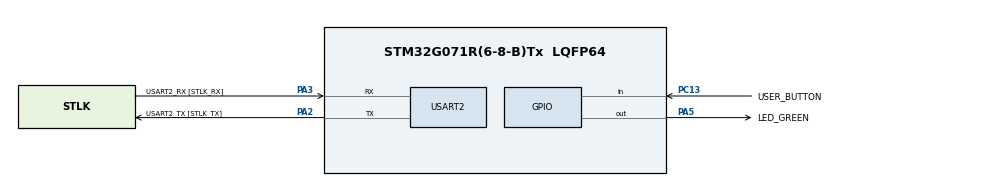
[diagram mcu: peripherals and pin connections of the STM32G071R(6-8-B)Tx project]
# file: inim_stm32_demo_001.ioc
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Mcu.Family=STM32G0
PA2.GPIO_PuPd=GPIO_PULLUP
RCC.CortexFreq_Value=16000000
PA14-BOOT0.GPIO_Label=TCK
PC13.Signal=GPIO_Input
PA3.GPIO_PuPd=GPIO_PULLUP
PA14-BOOT0.Mode=Serial_Wire
RCC.EXTERNAL_CLOCK_VALUE=12288000
PC15-OSC32_OUT\ (PC15).Signal=RCC_OSC32_OUT
PC15-OSC32_OUT\ (PC15).Mode=LSE-External-Oscillator
PC13.GPIO_Label=USER_BUTTON
PF0-OSC_IN\ (PF0).GPIO_Label=MCO
PF0-OSC_IN\ (PF0).Signal=RCC_OSC_IN
ProjectManager.StackSize=0x400
PC14-OSC32_IN\ (PC14).Mode=LSE-External-Oscillator
PF0-OSC_IN\ (PF0).Mode=HSE-External-Clock-Source
PA3.Mode=Asynchronous
PA13.Signal=SYS_SWDIO
ProjectManager.TargetToolchain=STM32CubeIDE
RCC.HCLKFreq_Value=16000000
RCC.AHBFreq_Value=16000000
PA14-BOOT0.Signal=SYS_SWCLK
PA5.Signal=GPIO_Output
RCC.HSE_VALUE=8000000
board=NUCLEO-G071RB
USART2.VirtualMode-Asynchronous=VM_ASYNC
RCC.VCOOutputFreq_Value=128000000
VP_SYS_VS_DBSignals.Mode=DisableDeadBatterySignals
PA13.Mode=Serial_Wire
Mcu.Name=STM32G071R(6-8-B)Tx
PA2.Signal=USART2_TX
PA13.GPIO_Label=TMS
RCC.SYSCLKFreq_VALUE=16000000
Mcu.Package=LQFP64
PA5.GPIO_Label=LED_GREEN
PC14-OSC32_IN\ (PC14).Signal=RCC_OSC32_IN
PA2.GPIO_Label=USART2_TX [STLK_TX]
ProjectManager.HeapSize=0x200
RCC.HSI_VALUE=16000000
PA5.GPIO_Speed=GPIO_SPEED_FREQ_HIGH
PA2.Mode=Asynchronous
PA3.GPIO_Label=USART2_RX [STLK_RX]
PA3.Signal=USART2_RX

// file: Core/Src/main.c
/* USER CODE BEGIN Header */
/**
  ******************************************************************************
  * @file           : main.c
  * @brief          : Main program body
  ******************************************************************************
  * @attention
  *
  * <h2><center>&copy; Copyright (c) 2021 STMicroelectronics.
  * All rights reserved.</center></h2>
  *
  * This software component is licensed by ST under BSD 3-Clause license,
  * the "License"; You may not use this file except in compliance with the
  * License. You may obtain a copy of the License at:
  *                        opensource.org/licenses/BSD-3-Clause
  *
  ******************************************************************************
  */
/* USER CODE END Header */
#include "main.h"
#include "usart.h"
#include "gpio.h"

/* USER CODE BEGIN Includes */
#include "string.h"
/* USER CODE END Includes */

void SystemClock_Config(void);

/* USER CODE BEGIN 0 */
const uint8_t __USED __attribute__((section(".flash2_sect1"))) var_in_flash2_sect1[8] = "123star";
const uint8_t __USED __attribute__((section(".flash2_sect2"))) var_in_flash2_sect2[8] = "123star";
const uint8_t __USED __attribute__((section(".flash2_sect3"))) var_in_flash2_sect3[8] = "123star";
const uint8_t __USED __attribute__((section(".flash2_sect4"))) var_in_flash2_sect4[8] = "123star";

__IO uint8_t __USED __attribute__((section(".ram2_sect1"))) var_in_ram2_sect1[8] = "ram_var";
__IO uint8_t __USED __attribute__((section(".ram2_sect2"))) var_in_ram2_sect2[8] = "ram_var";
__IO uint8_t __USED __attribute__((section(".ram2_sect3"))) var_in_ram2_sect3[8] = "ram_var";
__IO uint8_t __USED __attribute__((section(".ram2_sect4"))) var_in_ram2_sect4[8] = "ram_var";

volatile uint8_t cache[1024];
/* USER CODE END 0 */

int main(void)
{

  /* MCU Configuration--------------------------------------------------------*/

  /* Reset of all peripherals, Initializes the Flash interface and the Systick. */

  LL_APB2_GRP1_EnableClock(LL_APB2_GRP1_PERIPH_SYSCFG);
  LL_APB1_GRP1_EnableClock(LL_APB1_GRP1_PERIPH_PWR);

  /* System interrupt init*/

  /** Disable the internal Pull-Up in Dead Battery pins of UCPD peripheral
  */
  LL_SYSCFG_DisableDBATT(LL_SYSCFG_UCPD1_STROBE | LL_SYSCFG_UCPD2_STROBE);

  /* Configure the system clock */
  SystemClock_Config();

  /* Initialize all configured peripherals */
  MX_GPIO_Init();
  MX_USART2_UART_Init();
  /* USER CODE BEGIN 2 */
  memcpy((uint8_t*)&cache[0], (uint8_t*)&var_in_flash2_sect1[0], 8);
  memcpy((uint8_t*)&cache[0], (uint8_t*)&var_in_flash2_sect2[0], 8);
  memcpy((uint8_t*)&cache[0], (uint8_t*)&var_in_flash2_sect3[0], 8);
  memcpy((uint8_t*)&cache[0], (uint8_t*)&var_in_flash2_sect4[0], 8);

  memcpy((uint8_t*)&var_in_ram2_sect1[0], (uint8_t*)&var_in_flash2_sect1[0], 8);
  memcpy((uint8_t*)&var_in_ram2_sect2[0], (uint8_t*)&var_in_flash2_sect2[0], 8);
  memcpy((uint8_t*)&var_in_ram2_sect3[0], (uint8_t*)&var_in_flash2_sect3[0], 8);
  memcpy((uint8_t*)&var_in_ram2_sect4[0], (uint8_t*)&var_in_flash2_sect4[0], 8);

  memset((uint8_t*)&cache[0], 0xA5, 128);
  memcpy((uint8_t*)&var_in_ram2_sect4[0], (uint8_t*)&cache[0], 8);
  /* USER CODE END 2 */

  /* Infinite loop */
  while (1)
  {

    /* USER CODE BEGIN 3 */
	  if (!LL_GPIO_IsInputPinSet(USER_BUTTON_GPIO_Port, USER_BUTTON_Pin)) {
		  LL_USART_TransmitData8(USART2, 'A');
	  }
  }
  /* USER CODE END 3 */
}

void SystemClock_Config(void)
{
  /* HSI configuration and activation */
  LL_RCC_HSI_Enable();
  while(LL_RCC_HSI_IsReady() != 1)
  {
  }

  /* Set AHB prescaler*/
  LL_RCC_SetAHBPrescaler(LL_RCC_SYSCLK_DIV_1);

  /* Sysclk activation on the HSI */
  LL_RCC_SetSysClkSource(LL_RCC_SYS_CLKSOURCE_HSI);
  while(LL_RCC_GetSysClkSource() != LL_RCC_SYS_CLKSOURCE_STATUS_HSI)
  {
  }

  /* Set APB1 prescaler*/
  LL_RCC_SetAPB1Prescaler(LL_RCC_APB1_DIV_1);
  LL_Init1msTick(16000000);
  /* Update CMSIS variable (which can be updated also through SystemCoreClockUpdate function) */
  LL_SetSystemCoreClock(16000000);
  LL_RCC_SetUSARTClockSource(LL_RCC_USART2_CLKSOURCE_PCLK1);
}

void Error_Handler(void)
{
  __disable_irq();
  while (1)
  {
  }
}

/************************ (C) COPYRIGHT STMicroelectronics *****END OF FILE****/
